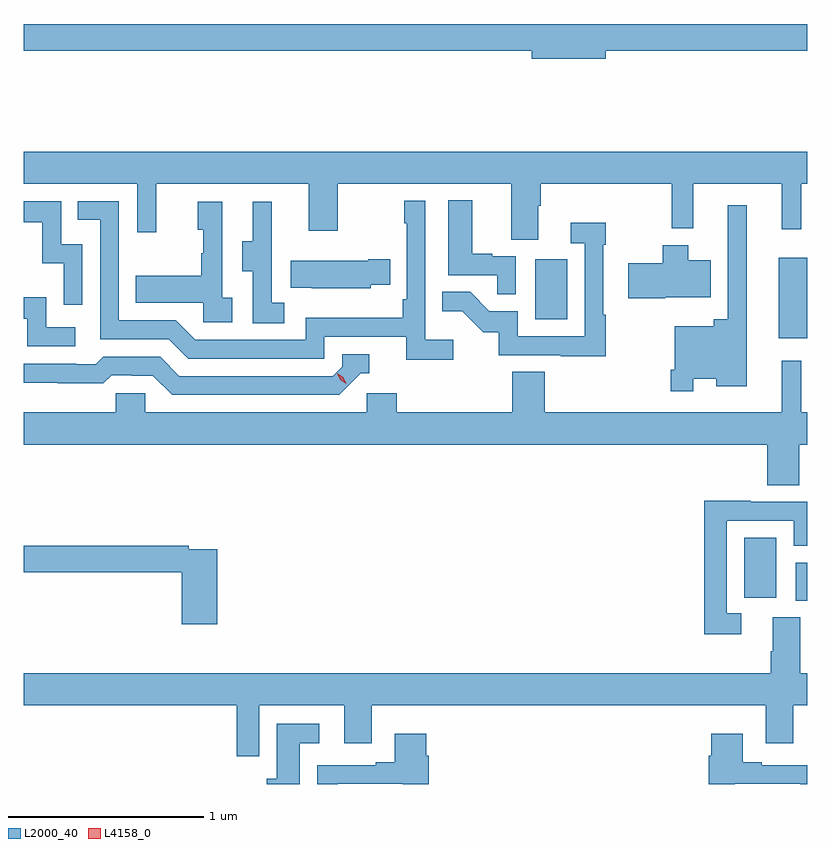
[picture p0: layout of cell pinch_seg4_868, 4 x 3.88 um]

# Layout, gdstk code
import gdstk
lib = gdstk.Library(unit=1e-6, precision=1e-09)
def R(c, l, rs):  # rectangles x0, y0, x1, y1
    for r in rs: c.add(gdstk.rectangle(r[:2], r[2:], *l))
def P(c, l, *ps):  # polygons
    for p in ps: c.add(gdstk.Polygon(p, *l))
L2000_40 = (2000, 40)
L4158_0 = (4158, 0)

pinch_seg4_868 = lib.new_cell('pinch_seg4_868')
R(pinch_seg4_868, L2000_40, [(857.334,804.015,857.393,804.209), (857.072,804.03,857.236,804.337), (857.249,805.355,857.393,805.765), (856.004,805.452,856.168,805.759)])
P(pinch_seg4_868, L2000_40, [(856.366,806.824),(857.393,806.824),(857.393,806.96),(853.393,806.96),(853.393,806.824),(855.986,806.824),(855.986,806.782),(856.366,806.782)],
  [(856.021,806.032),(856.034,806.032),(856.034,806.144),(856.701,806.144),(856.701,805.916),(856.811,805.916),(856.811,806.144),(857.264,806.144),(857.264,805.911),(857.364,805.911),(857.364,806.144),(857.393,806.144),(857.393,806.308),(853.393,806.308),(853.393,806.144),(853.971,806.144),(853.971,805.896),(854.069,805.896),(854.069,806.144),(854.849,806.144),(854.849,805.905),(854.997,805.905),(854.997,806.144),(855.881,806.144),(855.881,805.858),(856.021,805.858)],
  [(855.906,805.773),(855.785,805.773),(855.785,805.786),(855.682,805.786),(855.682,806.059),(855.56,806.059),(855.56,805.677),(855.811,805.677),(855.811,805.579),(855.906,805.579)],
  [(855.586,805.348),(855.444,805.348),(855.444,806.056),(855.336,806.056),(855.336,805.943),(855.348,805.943),(855.348,805.555),(855.328,805.555),(855.328,805.459),(854.832,805.459),(854.832,805.347),(854.268,805.347),(854.169,805.446),(853.878,805.446),(853.878,806.055),(853.669,806.055),(853.669,805.959),(853.782,805.959),(853.782,805.35),(854.132,805.35),(854.231,805.251),(854.928,805.251),(854.928,805.362),(855.347,805.362),(855.347,805.246),(855.586,805.246)],
  [(853.692,805.836),(853.584,805.836),(853.584,806.055),(853.393,806.055),(853.393,805.947),(853.487,805.947),(853.487,805.739),(853.596,805.739),(853.596,805.527),(853.692,805.527)],
  [(854.722,805.535),(854.658,805.535),(854.658,805.839),(854.66,805.839),(854.66,806.053),(854.561,806.053),(854.561,805.851),(854.507,805.851),(854.507,805.696),(854.562,805.696),(854.562,805.432),(854.722,805.432)],
  [(854.458,805.562),(854.406,805.562),(854.406,806.053),(854.282,806.053),(854.282,805.908),(854.308,805.908),(854.308,805.79),(854.298,805.79),(854.298,805.675),(853.963,805.675),(853.963,805.535),(854.31,805.535),(854.31,805.437),(854.458,805.437)],
  [(856.812,805.148),(856.928,805.148),(856.928,805.109),(857.086,805.109),(857.086,806.035),(856.989,806.035),(856.989,805.453),(856.916,805.453),(856.916,805.417),(856.716,805.417),(856.716,805.195),(856.696,805.195),(856.696,805.083),(856.812,805.083)],
  [(856.366,805.475),(856.353,805.475),(856.353,805.832),(856.366,805.832),(856.366,805.945),(856.185,805.945),(856.185,805.839),(856.257,805.839),(856.257,805.365),(855.915,805.365),(855.915,805.494),(855.77,805.494),(855.672,805.592),(855.529,805.592),(855.529,805.493),(855.633,805.493),(855.74,805.386),(855.817,805.386),(855.817,805.269),(856.135,805.269),(856.135,805.264),(856.366,805.264)],
  [(856.668,805.565),(856.9,805.565),(856.9,805.753),(856.786,805.753),(856.786,805.831),(856.657,805.831),(856.657,805.737),(856.479,805.737),(856.479,805.559),(856.668,805.559)],
  [(855.165,805.628),(855.263,805.628),(855.263,805.758),(855.152,805.758),(855.152,805.75),(854.755,805.75),(854.755,805.613),(854.863,805.613),(854.863,805.61),(855.165,805.61)],
  [(853.654,805.41),(853.506,805.41),(853.506,805.564),(853.393,805.564),(853.393,805.455),(853.41,805.455),(853.41,805.314),(853.654,805.314)],
  [(855.114,805.176),(855.157,805.176),(855.157,805.272),(855.018,805.272),(855.018,805.209),(854.97,805.161),(854.187,805.161),(854.088,805.26),(853.799,805.26),(853.76,805.221),(853.661,805.221),(853.661,805.224),(853.393,805.224),(853.393,805.127),(853.566,805.127),(853.566,805.125),(853.799,805.125),(853.841,805.167),(853.944,805.167),(853.944,805.164),(854.051,805.164),(854.15,805.065),(855.003,805.065)],
  [(857.354,804.812),(857.393,804.812),(857.393,804.976),(857.364,804.976),(857.364,805.24),(857.264,805.24),(857.264,804.976),(856.052,804.976),(856.052,805.184),(855.887,805.184),(855.887,804.976),(855.296,804.976),(855.296,805.074),(855.144,805.074),(855.144,804.976),(854.013,804.976),(854.013,805.074),(853.863,805.074),(853.863,804.976),(853.393,804.976),(853.393,804.812),(857.189,804.812),(857.189,804.604),(857.354,804.604)],
  [(857.056,803.949),(856.983,803.949),(856.983,804.423),(857.325,804.423),(857.325,804.294),(857.393,804.294),(857.393,804.519),(857.105,804.519),(857.105,804.524),(856.867,804.524),(856.867,803.844),(857.056,803.844)],
  [(854.381,804.276),(854.234,804.276),(854.234,804.296),(853.393,804.296),(853.393,804.16),(854.198,804.16),(854.198,803.895),(854.381,803.895)],
  [(857.323,803.48),(857.393,803.48),(857.393,803.644),(857.359,803.644),(857.359,803.93),(857.219,803.93),(857.219,803.756),(857.207,803.756),(857.207,803.644),(853.393,803.644),(853.393,803.48),(854.479,803.48),(854.479,803.22),(854.595,803.22),(854.595,803.48),(855.029,803.48),(855.029,803.286),(855.169,803.286),(855.169,803.48),(857.183,803.48),(857.183,803.286),(857.323,803.286)],
  [(854.803,803.285),(854.902,803.285),(854.902,803.386),(854.684,803.386),(854.684,803.106),(854.633,803.106),(854.633,803.078),(854.803,803.078)],
  [(857.023,803.079),(857.357,803.079),(857.357,803.078),(857.393,803.078),(857.393,803.175),(857.161,803.175),(857.161,803.188),(857.065,803.188),(857.065,803.335),(856.904,803.335),(856.904,803.222),(856.892,803.222),(856.892,803.078),(857.023,803.078)],
  [(854.995,803.079),(855.329,803.079),(855.329,803.078),(855.461,803.078),(855.461,803.222),(855.448,803.222),(855.448,803.335),(855.287,803.335),(855.287,803.188),(855.191,803.188),(855.191,803.175),(854.891,803.175),(854.891,803.078),(854.995,803.078)])
P(pinch_seg4_868, L4158_0, [(855.04,805.122),(855.009,805.142),(854.994,805.175),(854.994,805.175),(854.994,805.175),(855.024,805.155),(855.04,805.122),(855.04,805.122)])

lib.write_gds('pinch_seg4_868.gds')
